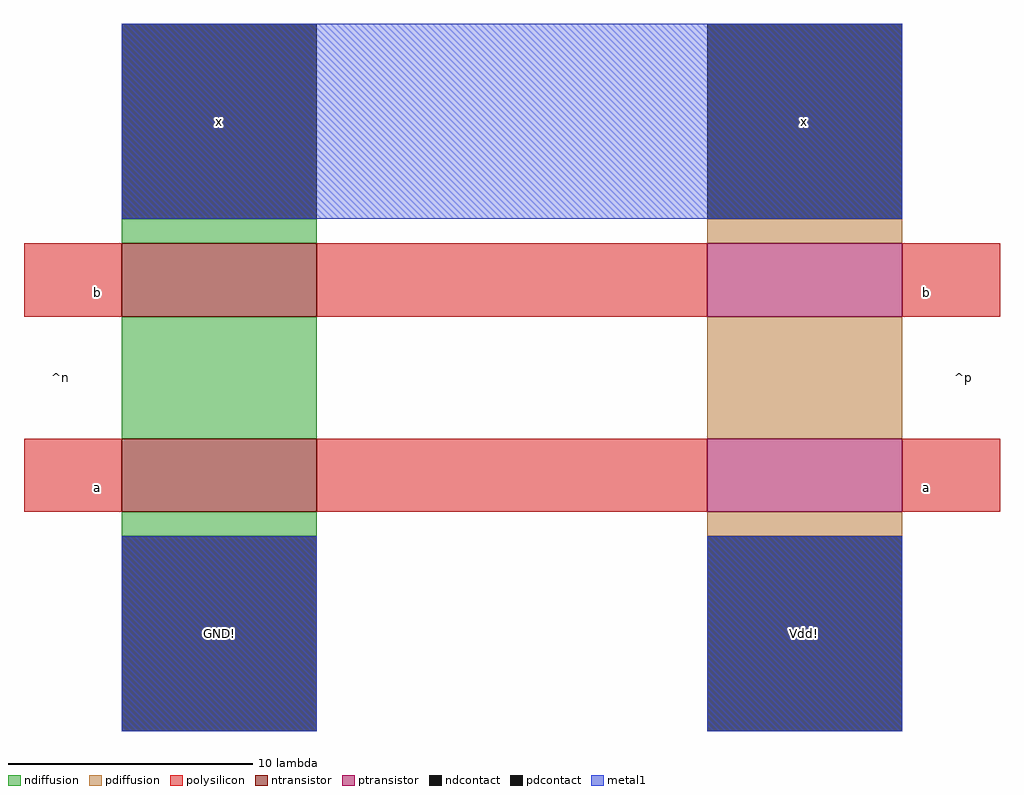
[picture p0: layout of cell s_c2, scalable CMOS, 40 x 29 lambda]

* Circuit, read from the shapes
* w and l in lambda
.subckt s_c2 GND! Vdd! a b x
M1 n1 a GND! VSUBS nfet w=8 l=3
M2 x b n1 VSUBS nfet w=8 l=3
M3 n2 a Vdd! NWELL pfet w=8 l=3
M4 x b n2 NWELL pfet w=8 l=3
.ends

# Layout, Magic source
magic
tech scmos
<< ndiffusion >>
rect -107 309 -99 310
rect -107 301 -99 306
rect -107 297 -99 298
<< pdiffusion >>
rect -83 309 -75 310
rect -83 301 -75 306
rect -83 297 -75 298
<< ntransistor >>
rect -107 306 -99 309
rect -107 298 -99 301
<< ptransistor >>
rect -83 306 -75 309
rect -83 298 -75 301
<< polysilicon >>
rect -111 306 -107 309
rect -99 306 -83 309
rect -75 306 -71 309
rect -111 298 -107 301
rect -99 298 -83 301
rect -75 298 -71 301
<< ndcontact >>
rect -107 310 -99 318
rect -107 289 -99 297
<< pdcontact >>
rect -83 310 -75 318
rect -83 289 -75 297
<< metal1 >>
rect -107 310 -75 318
rect -107 289 -99 297
rect -83 289 -75 297
<< labels >>
rlabel metal1 -103 314 -103 314 5 x
rlabel metal1 -103 293 -103 293 1 GND!
rlabel polysilicon -108 299 -108 299 3 a
rlabel polysilicon -108 307 -108 307 3 b
rlabel metal1 -79 314 -79 314 5 x
rlabel polysilicon -74 299 -74 299 7 a
rlabel polysilicon -74 307 -74 307 7 b
rlabel metal1 -79 293 -79 293 1 Vdd!
rlabel space -112 289 -107 318 7 ^n
rlabel space -75 289 -70 318 3 ^p
<< end >>
